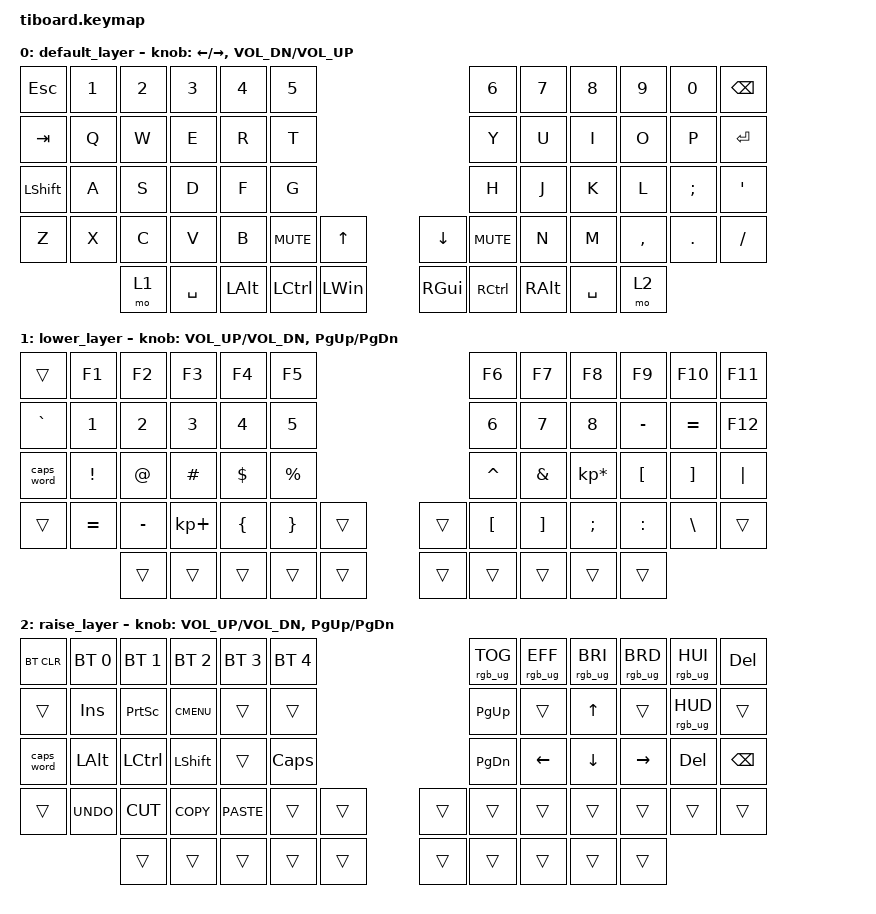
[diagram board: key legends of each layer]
/*
 * Copyright (c) 2020 The ZMK Contributors
 *
 * SPDX-License-Identifier: MIT
 */

#include <behaviors.dtsi>

// Enable mouse 启用鼠标

#include <dt-bindings/zmk/mouse.h>
#include <dt-bindings/zmk/mouse_settings.h>

// Enable Mouse Keys 启用鼠标键

#include "includes/mouse_keys.dtsi"
#include <dt-bindings/zmk/bt.h>
#include <dt-bindings/zmk/keys.h>
#include <dt-bindings/zmk/rgb.h>

// 以下的代码用来降低旋转分辨率

&left_encoder {
    resolution = <4>;
};

&right_encoder {
    resolution = <4>;
};

/ {
    keymap {
        compatible = "zmk,keymap";

        default_layer {
            // ------------------------------------------------------------------------------------------------------------
            // |  `    |  1  |  2  |  3   |  4   |  5   |                   |  6   |  7    |  8    |  9   |   0   |       |
            // |  ESC  |  Q  |  W  |  E   |  R   |  T   |                   |  Y   |  U    |  I    |  O   |   P   | BKSPC |
            // |  TAB  |  A  |  S  |  D   |  F   |  G   |                   |  H   |  J    |  K    |  L   |   ;   |   '   |
            // | SHIFT |  Z  |  X  |  C   |  V   |  B   |  MUTE  |  |       |  N   |  M    |  ,    |  .   |   /   | SHIFT |
            //               | GUI | ALT  | CTRL | LOWER|  ENTER |  | SPACE | RAISE| CTRL  | ALT   | GUI  |

            bindings = <
  &kp ESC  &kp N1  &kp N2     &kp N3    &kp N4      &kp N5                              &kp N6    &kp N7     &kp N8     &kp N9    &kp N0  &kp BACKSPACE
  &kp TAB   &kp Q   &kp W      &kp E     &kp R       &kp T                               &kp Y     &kp U      &kp I      &kp O     &kp P      &kp ENTER
&kp LSHFT   &kp A   &kp S      &kp D     &kp F       &kp G                               &kp H     &kp J      &kp K      &kp L  &kp SEMI        &kp SQT
    &kp Z   &kp X   &kp C      &kp V     &kp B  &kp C_MUTE        &kp UP  &kp DOWN  &kp C_MUTE     &kp N      &kp M  &kp COMMA   &kp DOT      &kp SLASH
                    &mo 1  &kp SPACE  &kp LALT   &kp LCTRL  &kp LEFT_WIN  &kp RGUI   &kp RCTRL  &kp RALT  &kp SPACE      &mo 2
            >;

            sensor-bindings = <&inc_dec_kp LEFT RIGHT &inc_dec_kp C_VOL_DN C_VOL_UP>;
        };

        lower_layer {
            // TODO: Some binds are waiting for shifted keycode support.
            // ------------------------------------------------------------------------------------------------------------
            // |       |  F1 |  F2 |  F3  |  F4  |  F5  |                   |  F6  |  F7   |  F8   |  F9  |  F10  |  F11  |
            // | `     |   1 |   2 |   3  |   4  |   5  |                   |   6  |   7   |   8   |   9  |    0  |  F12  |
            // |       |  !  |  @  |  #   |  $   |  %   |                   |  ^   |  &    |  *    |  (   |   )   |   |   |
            // |       |  =  |  -  |  +   |  {   |  }   |        |  |       |  [   |  ]    |  ;    |  :   |   \   |       |
            //               |     |      |      |      |        |  |       |      |       |       |      |

            bindings = <
    &trans     &kp F1     &kp F2       &kp F3    &kp F4     &kp F5                     &kp F6    &kp F7           &kp F8     &kp F9    &kp F10   &kp F11
 &kp GRAVE     &kp N1     &kp N2       &kp N3    &kp N4     &kp N5                     &kp N6    &kp N7           &kp N8  &kp MINUS  &kp EQUAL   &kp F12
&caps_word   &kp EXCL     &kp AT     &kp HASH  &kp DLLR  &kp PRCNT                  &kp CARET  &kp AMPS  &kp KP_MULTIPLY   &kp LBKT   &kp RBKT  &kp PIPE
    &trans  &kp EQUAL  &kp MINUS  &kp KP_PLUS  &kp LBRC   &kp RBRC  &trans  &trans   &kp LBKT  &kp RBKT         &kp SEMI  &kp COLON   &kp BSLH    &trans
                          &trans       &trans    &trans     &trans  &trans  &trans     &trans    &trans           &trans     &trans
            >;

            sensor-bindings = <&inc_dec_kp C_VOL_UP C_VOL_DN &inc_dec_kp PG_UP PG_DN>;
        };

        raise_layer {
            // ------------------------------------------------------------------------------------------------------------
            // |BTCLR| BT1  | BT2  |  BT3  |  BT4  |  BT5 |                |      |      |       |      |       |       |
            // |     | INS  | PSCR | GUI   |       |      |                | PGUP |      |   ^   |      |       |       |
            // |     | ALT  | CTRL | SHIFT |       | CAPS |                | PGDN |   <- |   v   |  ->  |  DEL  | BKSPC |
            // |     | UNDO | CUT  | COPY  | PASTE |      |      |  |      |      |      |       |      |       |       |
            //              |      |       |       |      |      |  |      |      |      |       |      |

            bindings = <
&bt BT_CLR  &bt BT_SEL 0  &bt BT_SEL 1  &bt BT_SEL 2  &bt BT_SEL 3  &bt BT_SEL 4                  &rgb_ug RGB_TOG  &rgb_ug RGB_EFF  &rgb_ug RGB_BRI  &rgb_ug RGB_BRD  &rgb_ug RGB_HUI   &kp DEL
    &trans       &kp INS     &kp PSCRN   &kp K_CMENU        &trans        &trans                        &kp PG_UP           &trans           &kp UP           &trans  &rgb_ug RGB_HUD    &trans
&caps_word      &kp LALT     &kp LCTRL     &kp LSHFT        &trans      &kp CLCK                        &kp PG_DN         &kp LEFT         &kp DOWN        &kp RIGHT          &kp DEL  &kp BSPC
    &trans    &kp K_UNDO     &kp K_CUT    &kp K_COPY   &kp K_PASTE        &trans  &trans  &trans           &trans           &trans           &trans           &trans           &trans    &trans
                                &trans        &trans        &trans        &trans  &trans  &trans           &trans           &trans           &trans           &trans
            >;

            sensor-bindings = <&inc_dec_kp C_VOL_UP C_VOL_DN &inc_dec_kp PG_UP PG_DN>;
        };
    };
};
